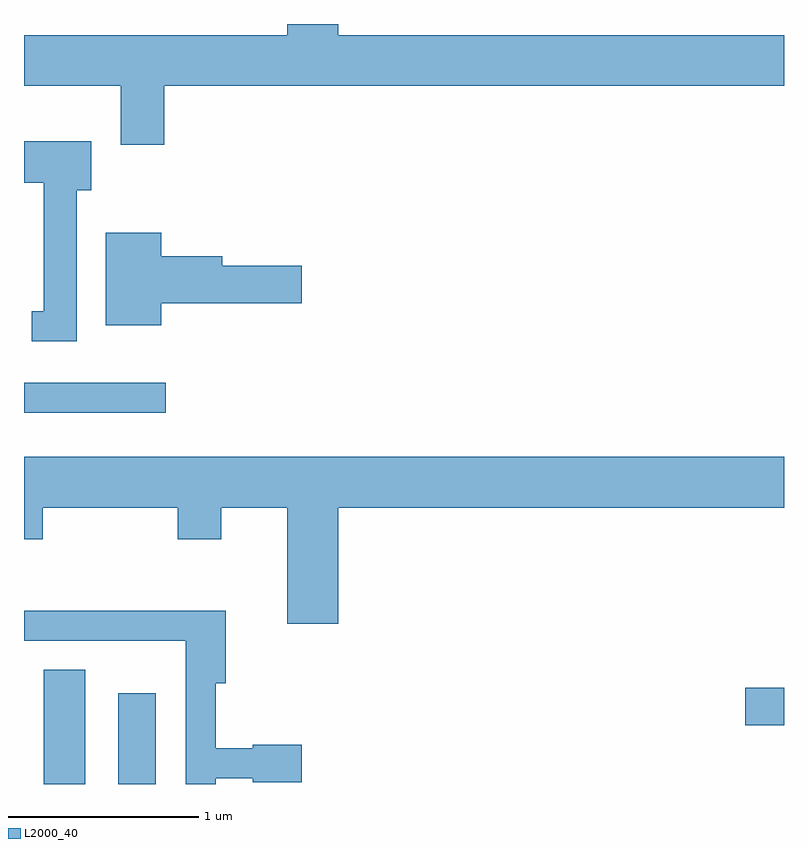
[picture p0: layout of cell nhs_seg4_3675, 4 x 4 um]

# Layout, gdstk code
import gdstk
lib = gdstk.Library(unit=1e-6, precision=1e-09)
def R(c, l, rs):  # rectangles x0, y0, x1, y1
    for r in rs: c.add(gdstk.rectangle(r[:2], r[2:], *l))
def P(c, l, *ps):  # polygons
    for p in ps: c.add(gdstk.Polygon(p, *l))
L2000_40 = (2000, 40)

nhs_seg4_3675 = lib.new_cell('nhs_seg4_3675')
R(nhs_seg4_3675, L2000_40, [(293.716,1259.982,293.934,1260.584), (294.106,1259.982,294.304,1260.459), (297.406,1260.291,297.611,1260.489), (293.611,1261.936,294.358,1262.094)])
P(nhs_seg4_3675, L2000_40, [(294.349,1263.656),(297.611,1263.656),(297.611,1263.924),(295.264,1263.924),(295.264,1263.982),(294.996,1263.982),(294.996,1263.924),(293.611,1263.924),(293.611,1263.656),(294.121,1263.656),(294.121,1263.346),(294.349,1263.346)],
  [(293.889,1263.106),(293.964,1263.106),(293.964,1263.364),(293.611,1263.364),(293.611,1263.146),(293.716,1263.146),(293.716,1262.469),(293.653,1262.469),(293.653,1262.311),(293.889,1262.311)],
  [(294.334,1262.511),(295.074,1262.511),(295.074,1262.709),(294.654,1262.709),(294.654,1262.759),(294.334,1262.759),(294.334,1262.884),(294.041,1262.884),(294.041,1262.396),(294.334,1262.396)],
  [(295.264,1261.436),(297.611,1261.436),(297.611,1261.704),(293.611,1261.704),(293.611,1261.271),(293.709,1261.271),(293.709,1261.436),(294.421,1261.436),(294.421,1261.271),(294.649,1261.271),(294.649,1261.436),(294.996,1261.436),(294.996,1260.826),(295.264,1260.826)],
  [(294.619,1260.011),(294.816,1260.011),(294.816,1259.991),(295.074,1259.991),(295.074,1260.189),(294.816,1260.189),(294.816,1260.169),(294.619,1260.169),(294.619,1260.511),(294.674,1260.511),(294.674,1260.894),(293.611,1260.894),(293.611,1260.736),(294.461,1260.736),(294.461,1259.982),(294.619,1259.982)])

lib.write_gds('nhs_seg4_3675.gds')
